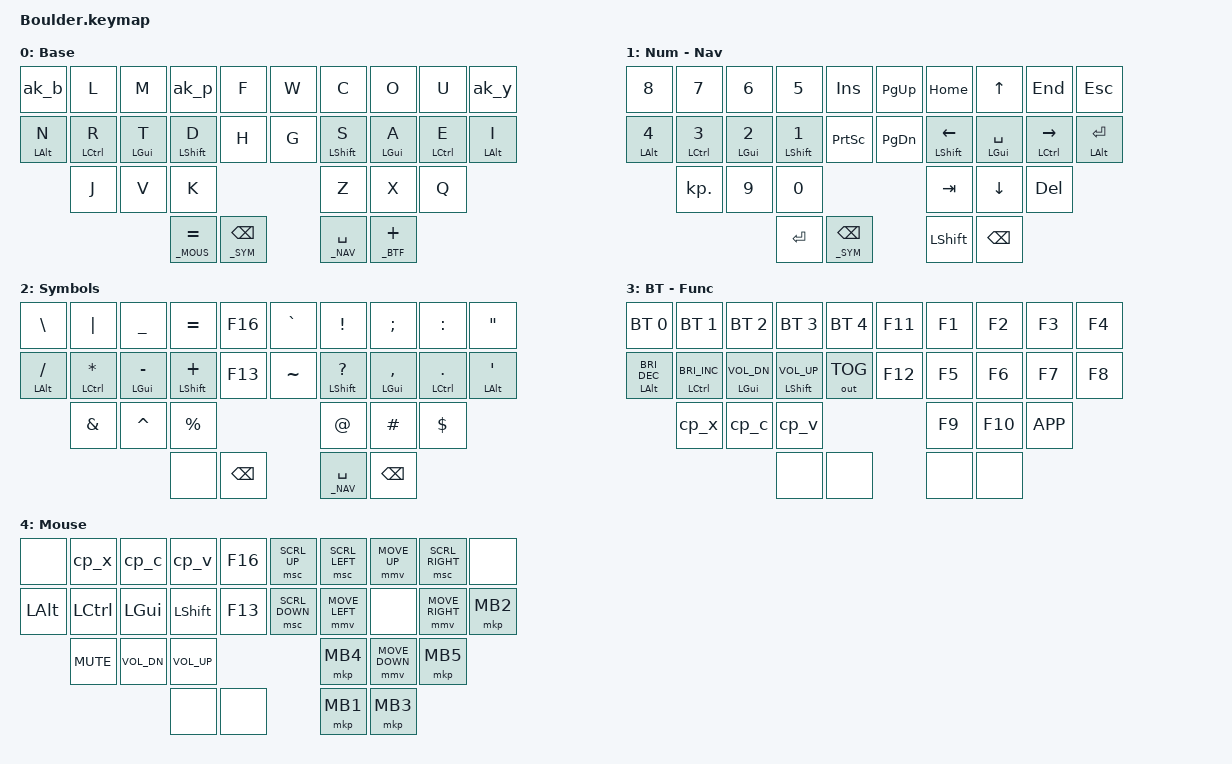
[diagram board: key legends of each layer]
/*
 * Copyright (c) 2021 The ZMK Contributors
 *
 * SPDX-License-Identifier: MIT
 */

#include <behaviors.dtsi>
#include <dt-bindings/zmk/keys.h>
#include <dt-bindings/zmk/bt.h>
#include <dt-bindings/zmk/outputs.h>

#define ZMK_POINTING_DEFAULT_MOVE_VAL 1500  // default: 600
#define ZMK_POINTING_DEFAULT_SCRL_VAL 20    // default: 10
#include <dt-bindings/zmk/pointing.h>
#include "keypos_30keys.h"
#include <dt-bindings/zmk/mouse.h>

#define _BASE    0
#define _NAV     1
#define _SYM     2
#define _BTF     3
#define _MOUS    4

&sk {
    release-after-ms = <1500>;
    quick-release;
};

/ {
// ------------------------- MACROS --------------------------------
    macros {
        // muc_the: macro_uc_the {
        //     compatible = "zmk,behavior-macro";
        //     #binding-cells = <0>;
        //     wait-ms = <0>;
        //     tap-ms = <5>;
        //     bindings
        //         = <&kp LS(T)>
        //         , <&kp H>
        //         , <&kp E>
        //         ;
        // };

        // mlc_the: macro_lc_the {
        //     compatible = "zmk,behavior-macro";
        //     #binding-cells = <0>;
        //     wait-ms = <0>;
        //     tap-ms = <5>;
        //     bindings
        //         = <&kp T>
        //         , <&kp H>
        //         , <&kp E>
        //         ;
        // };

        // muc_you: macro_uc_you {
        //     compatible = "zmk,behavior-macro";
        //     #binding-cells = <0>;
        //     wait-ms = <0>;
        //     tap-ms = <5>;
        //     bindings
        //         = <&kp LS(Y)>
        //         , <&kp O>
        //         , <&kp U>
        //         ;
        // };

        mlc_ou: macro_ou {
            compatible = "zmk,behavior-macro";
            #binding-cells = <0>;
            wait-ms = <0>;
            tap-ms = <5>;
            bindings
                = <&kp O>
                , <&kp U>
                ;
        };

        mlc_qu: macro_lc_qu {
            compatible = "zmk,behavior-macro";
            #binding-cells = <0>;
            wait-ms = <0>;
            tap-ms = <5>;
            bindings
                = <&kp Q>
                , <&kp U>
                ;
        };

        // mlc_qua: macro_lc_qua {
        //     compatible = "zmk,behavior-macro";
        //     #binding-cells = <0>;
        //     wait-ms = <0>;
        //     tap-ms = <5>;
        //     bindings
        //         = <&kp Q>
        //         , <&kp U>
        //         , <&kp A>
        //         ;
        // };

        // mlc_th: macro_lc_th {
        //     compatible = "zmk,behavior-macro";
        //     #binding-cells = <0>;
        //     wait-ms = <0>;
        //     tap-ms = <5>;
        //     bindings
        //         = <&kp T>
        //         , <&kp H>
        //         ;
        // };

        // mlc_mpl: macro_lc_mpl {
        //     compatible = "zmk,behavior-macro";
        //     #binding-cells = <0>;
        //     wait-ms = <0>;
        //     tap-ms = <5>;
        //     bindings
        //         = <&kp M>
        //         , <&kp P>
        //         , <&kp L>
        //         ;
        // };
    };

    combos {
        compatible = "zmk,combos";
// ------------------------- LAYER COMBOS --------------------------------
        // combo_BOOT {
        //     timeout-ms = <50>;
        //     key-positions = <LMC LTC>;
        //     bindings = <&bootloader>;
        //     layers = <_BTF>;
        // };

        combo_BTF {
            timeout-ms = <60>;
            key-positions = <LHI RHI>;
            bindings = <&mo _BTF>;
            layers = <_BASE _SYM _NAV>;
        };

        // combo_BTF2 {
        //     timeout-ms = <50>;
        //     key-positions = <LHI LHO>;
        //     bindings = <&mo _BTF>;
        //     layers = <_BASE _SYM _NAV>;
        // };

        // combo_BTF3 {
        //     timeout-ms = <50>;
        //     key-positions = <RHO RHI>;
        //     bindings = <&mo _BTF>;
        //     layers = <_BASE _SYM _NAV>;
        // };

        combo_BTCLR {
            timeout-ms = <60>;
            key-positions = <LBR LBM LBI>;
            bindings = <&bt BT_CLR>;
            layers = <_BTF>;
        };

        combo_NAVR {
            timeout-ms = <60>;
            require-prior-idle-ms = <300>;
            key-positions = <RMI RMM RMR>;
            bindings = <&tog _NAV>;
            layers = <_BASE _SYM _NAV>;
        };

        combo_NAVL {
            timeout-ms = <60>;
            require-prior-idle-ms = <300>;
            key-positions = <LMI LMM LMR>;
            bindings = <&tog _NAV>;
            layers = <_BASE _SYM _NAV>;
        };

// ------------------------- MODS COMBOS --------------------------------
        combo_CAPS {
            timeout-ms = <60>;
            key-positions = <LTI RTI>;
            bindings = <&caps_word>;
            require-prior-idle-ms = <200>;
            layers = <_BASE>;
        };

        combo_SHIFT {
            timeout-ms = <60>;
            key-positions = <LMI RMI>;
            bindings = <&sk LSHIFT>;
            require-prior-idle-ms = <120>;
            layers = <_BASE>;
        };

// ------------------------- CHARACTER COMBOS --------------------------------
        // combo_MPL {
        //     timeout-ms = <200>;
        //     key-positions = <LTP LTR LTM>;
        //     bindings = <&mlc_mpl>;
        //     layers = <_BASE>;
        // };

        combo_OU {
            timeout-ms = <300>;
            key-positions = <RTM RTR>;
            bindings = <&mlc_ou>;
            layers = <_BASE>;
        };

        combo_QU {
            timeout-ms = <300>;
            key-positions =<RBM RBI>;
            bindings = <&mlc_qu>;
            layers = <_BASE>;
        };

        // combo_Q {
        //     timeout-ms = <50>;
        //     key-positions =<LTI LTM>;
        //     bindings = <&kp Q>;
        //     layers = <_BASE>;
        // };

        // combo_X {
        //     timeout-ms = <50>;
        //     key-positions =<LBM LBI>;
        //     bindings = <&kp X>;
        //     layers = <_BASE>;
        // };

        // combo_ING {
        //     timeout-ms = <100>;
        //     key-positions = <RMI RMM RMR>;
        //     bindings = <&mlc_ing>;
        //     layers = <_BASE>;
        // };

// ------------------------- SYMBOL COMBOS --------------------------------
        combo_LPAR {
            timeout-ms = <60>;
            require-prior-idle-ms = <200>;
            key-positions = <LHI LMI>;
            bindings = <&kp LPAR>;
            layers = <_BASE>;
        };

        combo_RPAR {
            timeout-ms = <60>;
            require-prior-idle-ms = <200>;
            key-positions = <RMI RHI>;
            bindings = <&kp RPAR>;
            layers = <_BASE>;
        };

        combo_LBRC {
            timeout-ms = <60>;
            require-prior-idle-ms = <200>;
            key-positions = <LMR LHI>;
            bindings = <&kp LBRC>;
            layers = <_BASE>;
        };

        combo_RBRC {
            timeout-ms = <60>;
            require-prior-idle-ms = <200>;
            key-positions = <RHI RMR>;
            bindings = <&kp RBRC>;
            layers = <_BASE>;
        };

        combo_LBKT {
            timeout-ms = <60>;
            require-prior-idle-ms = <200>;
            key-positions = <LMM LHI>;
            bindings = <&kp LBKT>;
            layers = <_BASE>;
        };

        combo_RBKT {
            timeout-ms = <60>;
            require-prior-idle-ms = <200>;
            key-positions = <RHI RMM>;
            bindings = <&kp RBKT>;
            layers = <_BASE>;
        };

        combo_GT {
            timeout-ms = <60>;
            require-prior-idle-ms = <200>;
            key-positions = <RMP RHI>;
            bindings = <&kp GT>;
            layers = <_BASE>;
        };

        combo_LT {
            timeout-ms = <60>;
            require-prior-idle-ms = <200>;
            key-positions = <LMP LHI>;
            bindings = <&kp LT>;
            layers = <_BASE>;
        };

// ------------------------- UTILITY COMBOS --------------------------------
        combo_UNLCK {
            timeout-ms = <40>;
            key-positions = <LMC RMC>;
            bindings = <&studio_unlock>;
            layers = <_BASE>;
            require-prior-idle-ms = <200>;
        };
        
        combo_MUTE {
            timeout-ms = <50>;
            key-positions = <LMI LMM>;
            bindings = <&kp C_MUTE>;
            layers = <_BTF>;
        };
    };

    behaviors {
// ----------------------- ADAPTIVE-KEYS ------------------------------- 
        ak_d: ak_d {
            compatible = "zmk,behavior-adaptive-key";
            #binding-cells = <0>;
            bindings = <&kp D>;

            akt_th { trigger-keys = <T>; max-prior-idle-ms = <250>; bindings = <&kp H>; };
            akt_ch { trigger-keys = <C>; max-prior-idle-ms = <300>; bindings = <&kp H>; };
            akt_wh { trigger-keys = <W>; max-prior-idle-ms = <300>; bindings = <&kp H>; };
            akt_sh { trigger-keys = <S>; max-prior-idle-ms = <300>; bindings = <&kp H>; };
            akt_gh { trigger-keys = <G>; max-prior-idle-ms = <300>; bindings = <&kp H>; };

            // akt_bn { trigger-keys = <B>; max-prior-idle-ms = <300>; bindings = <&kp N>; };
        };

        ak_b: ak_b {
            compatible = "zmk,behavior-adaptive-key";
            #binding-cells = <0>;
            bindings = <&kp B>;

            akt_sc { trigger-keys = <S>; max-prior-idle-ms = <300>; bindings = <&kp C>; };
            akt_ph { trigger-keys = <P>; max-prior-idle-ms = <300>; bindings = <&kp H>; };
        };

        ak_r: ak_r {
            compatible = "zmk,behavior-adaptive-key";
            #binding-cells = <0>;
            bindings = <&kp R>;

            akt_ng { trigger-keys = <N>; max-prior-idle-ms = <300>; bindings = <&kp G>; };
        };

        ak_p: ak_p {
            compatible = "zmk,behavior-adaptive-key";
            #binding-cells = <0>;
            bindings = <&kp P>;

            akt_tv { trigger-keys = <T>; max-prior-idle-ms = <300>; bindings = <&kp V>; };
            
            akt_bn { trigger-keys = <B>; max-prior-idle-ms = <300>; bindings = <&kp N>; };
            
            akt_cs { trigger-keys = <C>; max-prior-idle-ms = <300>; bindings = <&kp S>; };
            akt_ws { trigger-keys = <W>; max-prior-idle-ms = <300>; bindings = <&kp S>; };
            akt_gs { trigger-keys = <G>; max-prior-idle-ms = <300>; bindings = <&kp S>; };
        };

        ak_y: ak_y {
            compatible = "zmk,behavior-adaptive-key";
            #binding-cells = <0>;
            bindings = <&kp Y>;

            akt_ue { trigger-keys = <U>; max-prior-idle-ms = <300>; bindings = <&kp E>; };
        };

// ------------------------- TAP-DANCES --------------------------------
        cp_c: cp_c {
            compatible = "zmk,behavior-tap-dance";
            #binding-cells = <0>;
            tapping-term-ms = <400>;
            bindings = <&kp LC(C)>, <&kp LG(C)>;
        };

        cp_v: cp_v {
            compatible = "zmk,behavior-tap-dance";
            #binding-cells = <0>;
            tapping-term-ms = <400>;
            bindings = <&kp LC(V)>, <&kp LG(V)>;
        };

        cp_x: cp_x {
            compatible = "zmk,behavior-tap-dance";
            #binding-cells = <0>;
            tapping-term-ms = <400>;
            bindings = <&kp LC(X)>, <&kp LG(X)>;
        };

// ------------------------- HOLD-TAPS --------------------------------
        /* left-hand HRMs */
        hml: hrm_left {
            compatible = "zmk,behavior-hold-tap";
            #binding-cells = <2>;
            flavor = "tap-preferred";
            tapping-term-ms = <300>;
            quick-tap-ms = <170>;                // repeat on tap-into-hold
            require-prior-idle-ms = <300>;
            bindings = <&kp>, <&kp>;
            hold-trigger-key-positions = <KEYS_R THUMBS>;
            hold-trigger-on-release;             // delay positional check until key-release
        };

        /* right-hand HRMs */
        hmr: hrm_right {
            compatible = "zmk,behavior-hold-tap";
            #binding-cells = <2>;
            flavor = "tap-preferred";
            tapping-term-ms = <300>;
            quick-tap-ms = <170>;                // repeat on tap-into-hold
            require-prior-idle-ms = <300>;
            bindings = <&kp>, <&kp>;
            hold-trigger-key-positions = <KEYS_L THUMBS>;
            hold-trigger-on-release;             // delay positional check until key-release
        };

        rml: akr_left {
            compatible = "zmk,behavior-hold-tap";
            #binding-cells = <2>;
            flavor = "tap-preferred";
            tapping-term-ms = <300>;
            quick-tap-ms = <170>;                // repeat on tap-into-hold
            require-prior-idle-ms = <250>;
            bindings = <&kp>, <&ak_r>;
            hold-trigger-key-positions = <KEYS_R THUMBS>;
            hold-trigger-on-release;             // delay positional check until key-release
        };

        asl: aks_left {
            compatible = "zmk,behavior-hold-tap";
            #binding-cells = <2>;
            flavor = "balanced";
            tapping-term-ms = <300>;
            quick-tap-ms = <170>;                // repeat on tap-into-hold
            // require-prior-idle-ms = <250>;
            bindings = <&kp>, <&ak_d>;
            hold-trigger-key-positions = <KEYS_R THUMBS>;
            hold-trigger-on-release;             // delay positional check until key-release
        };

        hsl: hrs_left {
            compatible = "zmk,behavior-hold-tap";
            #binding-cells = <2>;
            flavor = "balanced";
            tapping-term-ms = <300>;
            quick-tap-ms = <170>;                // repeat on tap-into-hold
            // require-prior-idle-ms = <120>;
            bindings = <&kp>, <&kp>;
            hold-trigger-key-positions = <KEYS_R THUMBS>;
            hold-trigger-on-release;             // delay positional check until key-release
        };

        hsr: hrs_right {
            compatible = "zmk,behavior-hold-tap";
            #binding-cells = <2>;
            flavor = "balanced";
            tapping-term-ms = <300>;
            quick-tap-ms = <170>;                // repeat on tap-into-hold
            // require-prior-idle-ms = <120>;
            bindings = <&kp>, <&kp>;
            hold-trigger-key-positions = <KEYS_L THUMBS>;
            hold-trigger-on-release;             // delay positional check until key-release
        };

        bst: backspace-tap {
            compatible = "zmk,behavior-hold-tap";
            #binding-cells = <2>;
            flavor = "hold-preferred";
            tapping-term-ms = <200>;
            quick-tap-ms = <150>;
            //require-prior-idle-ms = <100>;
            bindings = <&mo>, <&kp>;
        };

        spt: space-tap {
            compatible = "zmk,behavior-hold-tap";
            #binding-cells = <2>;
            flavor = "balanced";
            tapping-term-ms = <250>;
            quick-tap-ms = <170>;
            // require-prior-idle-ms = <120>;
            bindings = <&mo>, <&kp>;
        };

// ------------------------- MOD-MORPHS --------------------------------
        // mm_you: mm_you {
        //     compatible = "zmk,behavior-mod-morph";
        //     #binding-cells = <0>;
        //     bindings = <&mlc_you>, <&muc_you>;
        //     mods = <(MOD_LSFT)>;
        // };

        // mm_the: mm_the {
        //     compatible = "zmk,behavior-mod-morph";
        //     #binding-cells = <0>;
        //     bindings = <&mlc_the>, <&muc_the>;
        //     mods = <(MOD_LSFT)>;
        // };
    };

    keymap {
        compatible = "zmk,keymap";

                base_layer {
                    display-name = "Base";
// -------------------------------    -------------------------------
// |  B  |  L  |  M  |  P  |  F  |    |  W  |  C  |  O  |  U  |  Y  |
// |  N  |  R  |  T  |  D  |  H  |    |  G  |  S  |  A  |  E  |  I  |
//       |  J  |  V  |  K  |                |  Z  |  X  |  Q  |
//        | _NAV(=) | _SYM(BSPC) |    | _NAV(SPC) | _SYM(+) |
                        bindings = <
   &ak_b        &kp L        &kp M       &ak_p        &kp F           &kp W  &kp C        &kp O       &kp U        &ak_y
   &hml LALT N  &rml LCTRL R &hml LGUI T &asl LSHFT D &kp H           &kp G  &hsr LSHFT S &hmr LGUI A &hmr LCTRL E &hmr LALT I 
                &kp J        &kp V       &kp K                               &kp Z        &kp X       &kp Q
                                     &bst _MOUS EQUAL  &bst _SYM BSPC  &spt _NAV SPACE  &spt _BTF PLUS
                        >;
                };

                nav_layer {
                    display-name = "Num - Nav";
// -------------------------------    ---------------------------------
// |  8  |  7  |  6  |  5  | INS |    | pUP | HOME |  UP | END  | ESC |
// |  4  |  3  |  2  |  1  | PSC |    | pDN | LEFT | SPC | RGHT | RET |
//       | . , |  9  |  0  |                | TAB  |  DN | DEL  |
//                  | RET | BSPC |    | LSFT | BSPC |
                        bindings = <
   &kp N8        &kp N7        &kp N6       &kp N5        &kp INS         &kp PG_UP  &kp HOME        &kp UP          &kp END          &kp ESC
   &hml LALT N4  &hml LCTRL N3 &hml LGUI N2 &hml LSHFT N1 &kp PSCRN       &kp PG_DN  &hmr LSHFT LEFT &hmr LGUI SPACE &hmr LCTRL RIGHT &hmr LALT RET
                 &kp KP_DOT    &kp N9       &kp N0                                   &kp TAB         &kp DOWN        &kp DEL
                                                &kp RET   &bst _SYM BSPC  &kp LSHFT  &kp BSPC
                        >;
                };
                
                sym_layer {
                    display-name = "Symbols";
// -------------------------------    -------------------------------
// |  \  |  |  |  _  |  =  | F16 |    |  ~  |  !  |  ;  |  :  |  "  |
// |  /  |  *  |  -  |  +  | F13 |    |  `  |  ?  |  ,  |  .  |  '  |
//       |  &  |  ^  |  %  |                |  @  |  #  |  $  |
//                  |     | BSPC |    | SPC | BSPC |
                        bindings = <
   &kp BSLH        &kp PIPE        &kp UNDER       &kp EQUAL       &kp F16       &kp GRAVE &kp EXCL         &kp SEMI        &kp COLON      &kp DQT
   &hml LALT SLASH &hml LCTRL STAR &hml LGUI MINUS &hml LSHFT PLUS &kp F13       &kp TILDE &hmr LSHFT QMARK &hmr LGUI COMMA &hmr LCTRL DOT &hmr LALT SQT
                   &kp AMPS        &kp CARET       &kp PRCNT                               &kp AT           &kp HASH        &kp DLLR
                                                          &none    &kp BSPC      &spt _NAV SPACE  &kp BSPC
                        >;
                };

                btf_layer {
                    display-name = "BT - Func";
// -------------------------------    -----------------------------
// | BT1 | BT2 | BT3 | BT4 | BT5 |    | F11 | F1 | F2  | F3  | F4 |
// | BR- | BR+ | VL- | VL+ | USB |    | F12 | F5 | F6  | F7  | F8 |
//       | cut | cpy | pst |                | F9 | F10 | APP |
//                   |     |     |    |     |     |
                        bindings = <
   &bt BT_SEL 0        &bt BT_SEL 1         &bt BT_SEL 2       &bt BT_SEL 3          &bt BT_SEL 4   &kp F11 &kp F1  &kp F2  &kp F3    &kp F4
   &hml LALT C_BRI_DEC &hml LCTRL C_BRI_INC &hml LGUI C_VOL_DN &hml LSHFT C_VOL_UP   &out OUT_TOG   &kp F12 &kp F5  &kp F6  &kp F7    &kp F8
                       &cp_x                &cp_c              &cp_v                                        &kp F9  &kp F10 &kp K_APP
                                                                     &none   &none   &none   &none
                        >;
                };

                mouse_layer {
                    display-name = "Mouse";
// -------------------------------    ---------------------------------------
// |     | cut | cpy | pst | F16 |    | SCup | SCleft |  Mup  | SCrght |     |
// | ALT | CTL | GUI | SFT | F13 |    | SCdn | Mleft  |       | Mrght  | B2  |
//       |  v. |  v- |  v+ |                 |   B4   | Mdown |   B5   |
//                   |     |     |    |  B1  | B3 |
                        bindings = <
   &none    &cp_x      &cp_c        &cp_v        &kp F16   &msc SCRL_UP   &msc SCRL_LEFT &mmv MOVE_UP   &msc SCRL_RIGHT &none
   &kp LALT &kp LCTRL  &kp LGUI     &kp LSHIFT   &kp F13   &msc SCRL_DOWN &mmv MOVE_LEFT &none          &mmv MOVE_RIGHT &mkp MB2
            &kp C_MUTE &kp C_VOL_DN &kp C_VOL_UP                          &mkp MB4       &mmv MOVE_DOWN &mkp MB5
                                        &none    &none     &mkp MB1    &mkp MB3
                        >;
                };

                extra1 {
                        status = "reserved";
                };

                extra2 {
                        status = "reserved";
                };
    };
};
